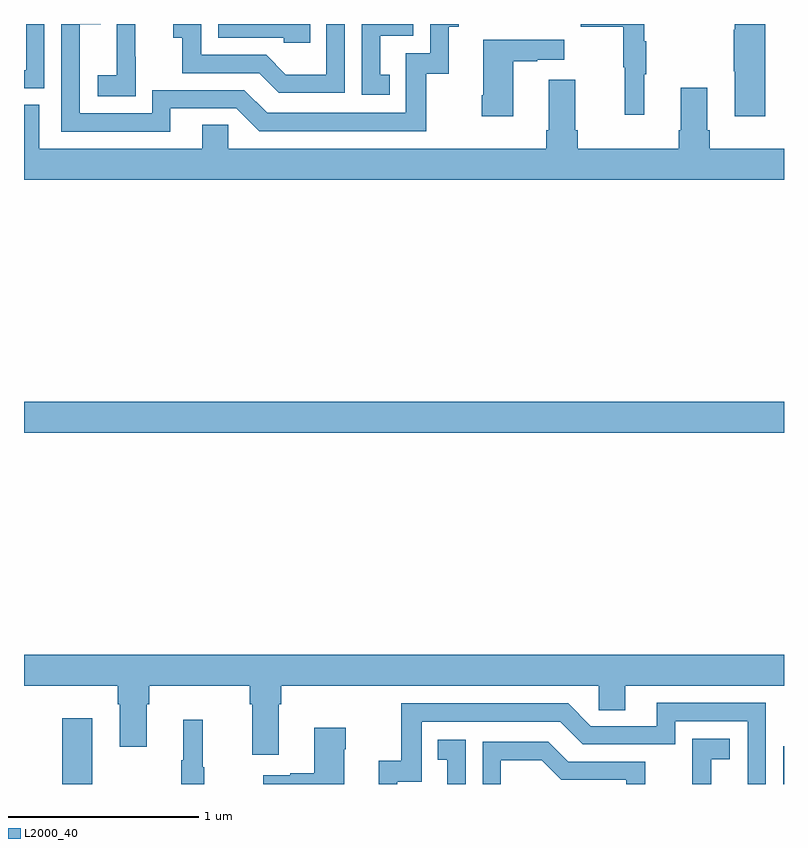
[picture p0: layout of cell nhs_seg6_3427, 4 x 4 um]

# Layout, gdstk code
import gdstk
lib = gdstk.Library(unit=1e-6, precision=1e-09)
def R(c, l, rs):  # rectangles x0, y0, x1, y1
    for r in rs: c.add(gdstk.rectangle(r[:2], r[2:], *l))
def P(c, l, *ps):  # polygons
    for p in ps: c.add(gdstk.Polygon(p, *l))
L2000_40 = (2000, 40)

nhs_seg6_3427 = lib.new_cell('nhs_seg6_3427')
R(nhs_seg6_3427, L2000_40, [(313.202,933.5,313.36,933.847), (316.995,933.5,317,933.699), (313,935.348,317,935.512)])
P(nhs_seg6_3427, L2000_40, [(316.265,937.235),(316.276,937.235),(316.276,937.409),(316.265,937.409),(316.265,937.5),(315.931,937.5),(315.931,937.486),(316.155,937.486),(316.155,937.272),(316.162,937.272),(316.162,937.023),(316.265,937.023)],
  [(313.107,937.5),(313.011,937.5),(313.011,937.257),(313,937.257),(313,937.161),(313.107,937.161)],
  [(314.924,937.233),(314.875,937.233),(314.875,937.437),(315.048,937.437),(315.048,937.5),(314.778,937.5),(314.778,937.128),(314.924,937.128)],
  [(313.587,937.327),(313.586,937.327),(313.586,937.5),(313.488,937.5),(313.488,937.46),(313.487,937.46),(313.487,937.231),(313.389,937.231),(313.389,937.121),(313.587,937.121)],
  [(314.507,937.5),(314.022,937.5),(314.022,937.428),(314.367,937.428),(314.367,937.401),(314.507,937.401)],
  [(316.901,937.5),(316.742,937.5),(316.742,937.469),(316.735,937.469),(316.735,937.252),(316.742,937.252),(316.742,937.014),(316.901,937.014)],
  [(314.688,937.5),(314.592,937.5),(314.592,937.234),(314.378,937.234),(314.274,937.338),(313.932,937.338),(313.932,937.5),(313.785,937.5),(313.785,937.427),(313.834,937.427),(313.834,937.242),(314.237,937.242),(314.342,937.137),(314.688,937.137)],
  [(313.771,937.056),(314.118,937.056),(314.238,936.936),(315.118,936.936),(315.118,937.239),(315.236,937.239),(315.236,937.485),(315.289,937.485),(315.289,937.5),(315.138,937.5),(315.138,937.347),(315.009,937.347),(315.009,937.032),(314.28,937.032),(314.16,937.152),(313.674,937.152),(313.674,937.029),(313.293,937.029),(313.293,937.498),(313.403,937.498),(313.403,937.5),(313.197,937.5),(313.197,936.933),(313.771,936.933)],
  [(315.574,937.303),(315.701,937.303),(315.701,937.313),(315.844,937.313),(315.844,937.417),(315.416,937.417),(315.416,937.126),(315.409,937.126),(315.409,937.014),(315.574,937.014)],
  [(317,936.844),(316.61,936.844),(316.61,936.94),(316.597,936.94),(316.597,937.165),(316.457,937.165),(316.457,936.94),(316.445,936.94),(316.445,936.844),(315.914,936.844),(315.914,936.94),(315.901,936.94),(315.901,937.207),(315.761,937.207),(315.761,936.94),(315.749,936.94),(315.749,936.844),(314.076,936.844),(314.076,936.971),(313.937,936.971),(313.937,936.844),(313.081,936.844),(313.081,937.076),(313,937.076),(313,936.68),(317,936.68)],
  [(314.341,933.92),(314.354,933.92),(314.354,934.016),(316.026,934.016),(316.026,933.889),(316.165,933.889),(316.165,934.016),(317,934.016),(317,934.18),(313,934.18),(313,934.016),(313.493,934.016),(313.493,933.92),(313.505,933.92),(313.505,933.696),(313.645,933.696),(313.645,933.92),(313.658,933.92),(313.658,934.016),(314.189,934.016),(314.189,933.92),(314.201,933.92),(314.201,933.654),(314.341,933.654)],
  [(314.964,933.513),(315.093,933.513),(315.093,933.828),(315.822,933.828),(315.942,933.708),(316.428,933.708),(316.428,933.831),(316.809,933.831),(316.809,933.5),(316.905,933.5),(316.905,933.927),(316.331,933.927),(316.331,933.804),(315.984,933.804),(315.864,933.924),(314.985,933.924),(314.985,933.622),(314.867,933.622),(314.867,933.5),(314.964,933.5)],
  [(313.948,933.588),(313.94,933.588),(313.94,933.838),(313.838,933.838),(313.838,933.625),(313.827,933.625),(313.827,933.5),(313.948,933.5)],
  [(314.686,933.683),(314.694,933.683),(314.694,933.796),(314.528,933.796),(314.528,933.557),(314.402,933.557),(314.402,933.547),(314.259,933.547),(314.259,933.5),(314.686,933.5)],
  [(316.616,933.629),(316.714,933.629),(316.714,933.739),(316.516,933.739),(316.516,933.533),(316.517,933.533),(316.517,933.5),(316.616,933.5)],
  [(315.324,933.733),(315.178,933.733),(315.178,933.627),(315.227,933.627),(315.227,933.5),(315.324,933.5)],
  [(315.51,933.626),(315.724,933.626),(315.828,933.522),(316.17,933.522),(316.17,933.5),(316.269,933.5),(316.269,933.618),(315.865,933.618),(315.76,933.723),(315.414,933.723),(315.414,933.5),(315.51,933.5)])

lib.write_gds('nhs_seg6_3427.gds')
